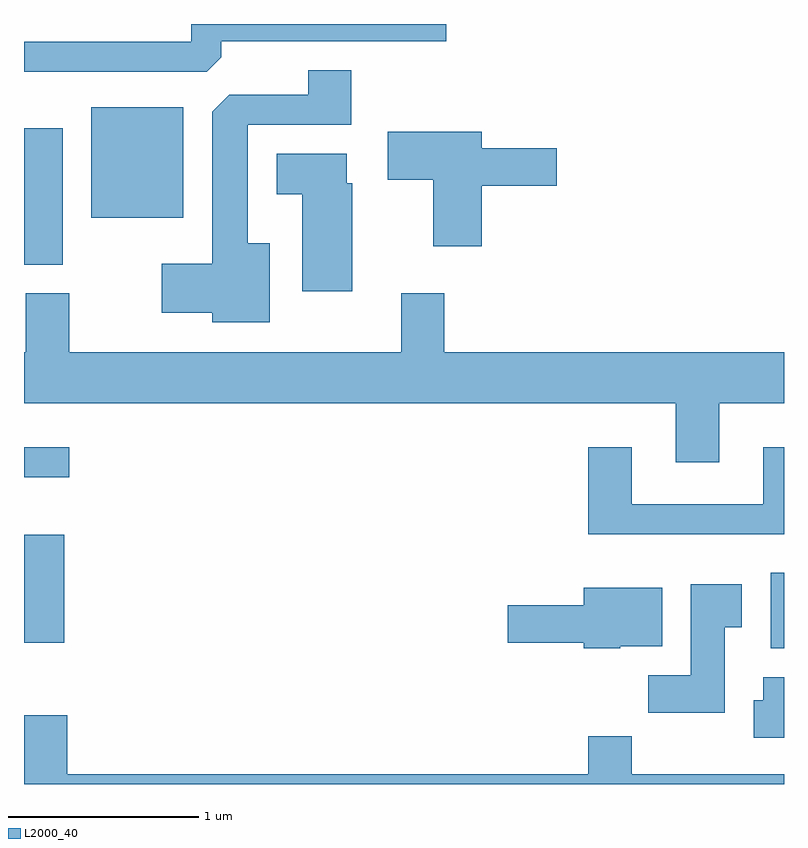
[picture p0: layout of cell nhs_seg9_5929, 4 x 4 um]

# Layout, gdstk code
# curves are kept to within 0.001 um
import gdstk
lib = gdstk.Library(unit=1e-6, precision=1e-09)
def R(c, l, rs):  # rectangles x0, y0, x1, y1
    for r in rs: c.add(gdstk.rectangle(r[:2], r[2:], *l))
def P(c, l, *ps):  # polygons
    for p in ps: c.add(gdstk.Polygon(p, *l))
L2000_40 = (2000, 40)

nhs_seg9_5929 = lib.new_cell('nhs_seg9_5929')
R(nhs_seg9_5929, L2000_40, [(363.541,2037.146,363.611,2037.544), (359.611,2037.176,359.824,2037.744), (359.611,2038.046,359.848,2038.204), (359.611,2039.166,359.814,2039.884), (359.966,2039.411,360.449,2039.994)])
P(nhs_seg9_5929, L2000_40, [(360.649,2040.257),(360.649,2040.341),(361.833,2040.341),(361.833,2040.432),(360.491,2040.432),(360.491,2040.339),(359.613,2040.339),(359.613,2040.181),(360.574,2040.181)],
  [(360.904,2039.279),(360.789,2039.279),(360.789,2039.901),(361.334,2039.901),(361.334,2040.189),(361.106,2040.189),(361.106,2040.059),(360.692,2040.059),(360.601,2039.969),(360.601,2039.169),(360.336,2039.169),(360.336,2038.911),(360.601,2038.911),(360.601,2038.861),(360.904,2038.861)],
  [(362.019,2039.581),(362.414,2039.581),(362.414,2039.779),(362.019,2039.779),(362.019,2039.864),(361.526,2039.864),(361.526,2039.611),(361.766,2039.611),(361.766,2039.261),(362.019,2039.261)],
  [(361.339,2039.594),(361.309,2039.594),(361.309,2039.749),(360.941,2039.749),(360.941,2039.536),(361.076,2039.536),(361.076,2039.026),(361.339,2039.026)],
  [(363.269,2038.436),(363.611,2038.436),(363.611,2038.704),(361.824,2038.704),(361.824,2039.014),(361.596,2039.014),(361.596,2038.704),(359.849,2038.704),(359.849,2039.014),(359.621,2039.014),(359.621,2038.704),(359.611,2038.704),(359.611,2038.436),(363.041,2038.436),(363.041,2038.126),(363.269,2038.126)],
  [(363.611,2038.204),(363.501,2038.204),(363.501,2037.904),(362.809,2037.904),(362.809,2038.204),(362.581,2038.204),(362.581,2037.746),(363.611,2037.746)],
  [(363.299,2037.256),(363.389,2037.256),(363.389,2037.484),(363.121,2037.484),(363.121,2037.004),(362.896,2037.004),(362.896,2036.806),(363.299,2036.806)],
  [(362.75,2037.156),(362.969,2037.156),(362.969,2037.464),(362.556,2037.464),(362.556,2037.374),(362.156,2037.374),(362.156,2037.176),(362.556,2037.176),(362.556,2037.146),(362.75,2037.146)],
  [(363.611,2036.994),(363.501,2036.994),(363.501,2036.874),(363.451,2036.874),(363.451,2036.676),(363.611,2036.676)],
  [(363.611,2036.484),(362.809,2036.484),(362.809,2036.684),(362.581,2036.684),(362.581,2036.484),(359.839,2036.484),(359.839,2036.794),(359.611,2036.794),(359.611,2036.432),(363.611,2036.432)])

lib.write_gds('nhs_seg9_5929.gds')
